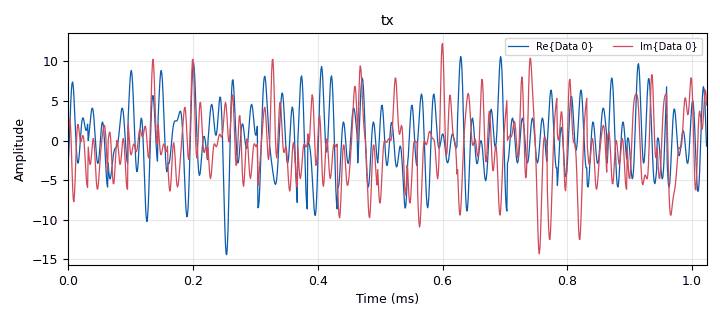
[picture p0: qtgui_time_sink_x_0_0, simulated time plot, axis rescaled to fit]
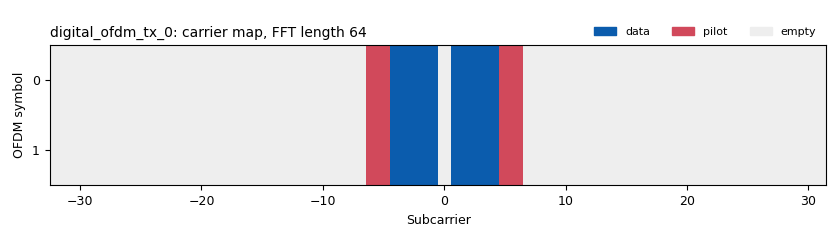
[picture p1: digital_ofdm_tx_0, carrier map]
options:
  parameters:
    category: Custom
    description: Transmit a pre-defined signal (a complex sine) as OFDM packets.
    generate_options: qt_gui
    id: ofdm_loopback_example
    output_language: python
    title: OFDM Loopback Example
  states: {}

blocks:
- name: center_freq
  id: variable
  parameters:
    value: 429e6
  states: {}
- name: fft_len
  id: variable
  parameters:
    value: '64'
  states: {}
- name: freq_offset
  id: variable_qtgui_range
  parameters:
    label: Frequency Offset (Multiples of Sub-carrier spacing)
    start: '-3'
    step: '.01'
    stop: '3'
    value: '0'
  states: {}
- name: len_tag_key
  id: variable
  parameters:
    value: '"packet_len"'
  states: {}
- name: noise_voltage
  id: variable_qtgui_range
  parameters:
    label: Noise Amplitude
    start: '0'
    step: '.01'
    stop: '1'
    value: '0.1'
  states: {}
- name: packet_len
  id: variable
  parameters:
    value: '50'
  states: {}
- name: samp_rate
  id: variable
  parameters:
    value: 1e6
  states: {}
- name: tx_gain
  id: variable_qtgui_range
  parameters:
    start: '0'
    step: '1'
    stop: '89'
    value: '20'
  states: {}
- name: blocks_file_sink_0
  id: blocks_file_sink
  parameters:
    file: rx_ofdm.dat
    type: complex
  states: {}
- name: blocks_file_sink_0_0
  id: blocks_file_sink
  parameters:
    file: tx_ofdm.dat
    type: complex
    vlen: '64'
  states: {}
- name: blocks_interleaved_char_to_complex_0
  id: blocks_interleaved_char_to_complex
  parameters:
    scale_factor: '1.0'
    vector_input: 'False'
  states: {}
- name: blocks_stream_to_tagged_stream_0
  id: blocks_stream_to_tagged_stream
  parameters:
    len_tag_key: len_tag_key
    packet_len: packet_len
    type: byte
  states: {}
- name: blocks_stream_to_vector_1
  id: blocks_stream_to_vector
  parameters:
    num_items: '64'
    type: complex
  states: {}
- name: blocks_tag_debug_0
  id: blocks_tag_debug
  parameters:
    name: Rx Packets
    type: byte
  states: {}
- name: blocks_throttle2_0
  id: blocks_throttle2
  parameters:
    samples_per_second: samp_rate
    type: complex
  states: {}
- name: blocks_vector_source_x_0
  id: blocks_vector_source_x
  parameters:
    repeat: 'True'
    tags: ()
    type: byte
    vector: range(packet_len)
  states: {}
- name: digital_ofdm_rx_0
  id: digital_ofdm_rx
  parameters:
    cp_len: fft_len//4
    fft_len: fft_len
    header_mod: '"QPSK"'
    occupied_carriers: ((-4,-3,-2,-1,1,2,3,4),)
    packet_len_key: '"rx_len"'
    payload_mod: '"QPSK"'
    pilot_carriers: ((-6,-5,5,6),)
    pilot_symbols: ((-1,1,-1,1),)
    sync_word1: None
    sync_word2: None
  states: {}
- name: digital_ofdm_tx_0
  id: digital_ofdm_tx
  parameters:
    cp_len: fft_len//4
    fft_len: fft_len
    header_mod: '"QPSK"'
    log: 'True'
    occupied_carriers: ((-4,-3,-2,-1,1,2,3,4),)
    packet_len_key: len_tag_key
    payload_mod: '"QPSK"'
    pilot_carriers: ((-6,-5,5,6),)
    pilot_symbols: ((-1,1,-1,1),)
    rolloff: '0'
    sync_word1: None
    sync_word2: None
  states: {}
- name: pdu_pdu_to_stream_x_0
  id: pdu_pdu_to_stream_x
  parameters:
    early_behavior: pdu.EARLY_BURST_APPEND
    type: complex
  states: {}
- name: pdu_take_skip_to_pdu_0
  id: pdu_take_skip_to_pdu
  parameters:
    skip: '16'
    take: '80'
    type: complex
  states: {}
- name: qtgui_const_sink_x_0_0
  id: qtgui_const_sink_x
  parameters:
    autoscale: 'True'
    name: '"Demod Constellation"'
    size: '1024'
    type: complex
    xmax: '1.5'
    xmin: '-1.5'
    ymax: '1.5'
    ymin: '-1.5'
  states: {}
- name: qtgui_freq_sink_x_0
  id: qtgui_freq_sink_x
  parameters:
    bw: samp_rate
    fc: '2'
    fftsize: '64'
    label1: Rx Spectrum
    name: Rx Spectrum
    showports: 'True'
    type: complex
  states: {}
- name: qtgui_time_sink_x_0_0
  id: qtgui_time_sink_x
  parameters:
    name: '"tx"'
    size: '1024'
    srate: samp_rate
    type: complex
  states: {}
- name: qtgui_time_sink_x_0_0_0
  id: qtgui_time_sink_x
  parameters:
    name: '"rx signal"'
    size: '1024'
    srate: samp_rate
    type: complex
  states: {}
- name: uhd_usrp_sink_1
  id: uhd_usrp_sink
  parameters:
    ant0: '"TX/RX"'
    center_freq0: center_freq
    dev_addr: '"addr=192.168.30.2"'
    gain0: '50'
    samp_rate: samp_rate
    sync: pc_clock
    type: fc32
  states: {}
- name: uhd_usrp_source_1
  id: uhd_usrp_source
  parameters:
    ant0: '"RX2"'
    center_freq0: center_freq
    dev_addr: '"addr=192.168.40.2"'
    gain0: '5'
    samp_rate: samp_rate
    sync: pc_clock
    type: fc32
  states: {}

connections:
- [blocks_interleaved_char_to_complex_0, '0', blocks_file_sink_0, '0']
- [blocks_interleaved_char_to_complex_0, '0', qtgui_const_sink_x_0_0, '0']
- [blocks_stream_to_tagged_stream_0, '0', digital_ofdm_tx_0, '0']
- [blocks_stream_to_vector_1, '0', blocks_file_sink_0_0, '0']
- [blocks_throttle2_0, '0', pdu_take_skip_to_pdu_0, '0']
- [blocks_throttle2_0, '0', uhd_usrp_sink_1, '0']
- [blocks_vector_source_x_0, '0', blocks_stream_to_tagged_stream_0, '0']
- [digital_ofdm_rx_0, '0', blocks_interleaved_char_to_complex_0, '0']
- [digital_ofdm_rx_0, '0', blocks_tag_debug_0, '0']
- [digital_ofdm_tx_0, '0', blocks_throttle2_0, '0']
- [pdu_pdu_to_stream_x_0, '0', blocks_stream_to_vector_1, '0']
- [pdu_pdu_to_stream_x_0, '0', qtgui_time_sink_x_0_0, '0']
- [pdu_take_skip_to_pdu_0, pdus, pdu_pdu_to_stream_x_0, pdus]
- [uhd_usrp_source_1, '0', digital_ofdm_rx_0, '0']
- [uhd_usrp_source_1, '0', qtgui_freq_sink_x_0, '0']
- [uhd_usrp_source_1, '0', qtgui_time_sink_x_0_0_0, '0']

metadata:
  file_format: 1
  grc_version: 3.10.7.0
